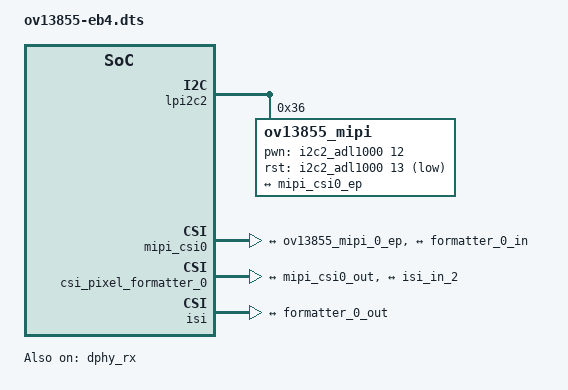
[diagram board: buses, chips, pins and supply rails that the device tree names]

&scmi_iomuxc {
	pinctrl_csi_mclk: csi_mclk {
		fsl,pins = <
			IMX95_PAD_CCM_CLKO1__CCMSRCGPCMIX_TOP_CLKO_1	0x39e
		>;
	};
};

&lpi2c2 {
	#address-cells = <1>;
	#size-cells = <0>;
	status = "okay";
	
	ov13855_mipi: ov13855_mipi@36 {
		compatible = "ov13855_mipi";
		reg = <0x36>;
		pinctrl-names = "default";
		pinctrl-0 = <&pinctrl_csi_mclk>;
		mclk = <24000000>;
		mclk_source = <0>;
		clocks = <&scmi_clk IMX95_CLK_CCMCKO1>;
		clock-names = "csi_mclk";
		assigned-clocks = <&scmi_clk IMX95_CLK_CCMCKO1>;
		assigned-clock-parents = <&scmi_clk IMX95_CLK_24M>;
		assigned-clock-rates = <24000000>;

		pwn-gpios = <&i2c2_adl1000 12 GPIO_ACTIVE_HIGH>; 	//CSI1_PWR_1V8
		rst-gpios = <&i2c2_adl1000 13 GPIO_ACTIVE_LOW>;		//CSI1_RST_1V8

		virtual_channel = <0>;
		mipi_csi;

		port@0 {
			ov13855_mipi_0_ep: endpoint {
				remote-endpoint = <&mipi_csi0_ep>;
				data-lanes = <1 2 3 4>;
				clock-lanes = <0>;
			};
		};
	};
	

};

&dphy_rx {
	status = "okay";
};

&mipi_csi0 {
	status = "okay";

	ports {
		#address-cells = <1>;
		#size-cells = <0>;

		port@0 {
			reg = <0>;
			mipi_csi0_ep: endpoint {
				remote-endpoint = <&ov13855_mipi_0_ep>;
				data-lanes = <1 2 3 4>;
				clock-lanes = <0>;
			};
		};

		port@1 {
			reg = <1>;
				mipi_csi0_out: endpoint {
				remote-endpoint = <&formatter_0_in>;
				//remote-endpoint = <&isi_in_2>;
			};
		};
	};
};

&csi_pixel_formatter_0 {
	status = "okay";

	ports {
		#address-cells = <1>;
		#size-cells = <0>;

		port@0 {
			reg = <0>;

			formatter_0_in: endpoint {
				remote-endpoint = <&mipi_csi0_out>;
			};
		};

		port@1 {
			reg = <1>;

			formatter_0_out: endpoint {
				remote-endpoint = <&isi_in_2>;
			};
		};
	};
};

&isi {
	status = "okay";

	ports {
		#address-cells = <1>;
		#size-cells = <0>;

		port@2 {
			reg = <2>;

			isi_in_2: endpoint {
				remote-endpoint = <&formatter_0_out>;
				//remote-endpoint = <&mipi_csi0_out>;
			};
		};
	};
};


